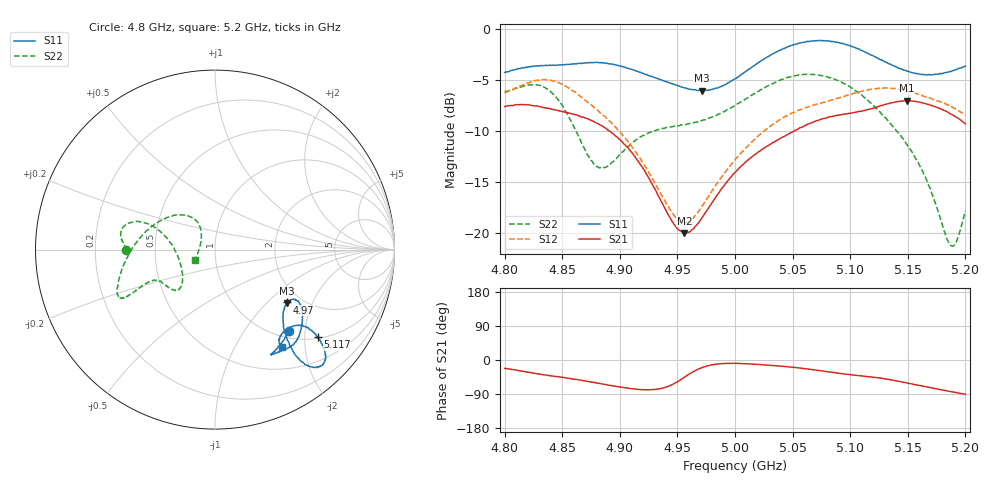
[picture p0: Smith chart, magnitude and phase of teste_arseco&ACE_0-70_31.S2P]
! Network Analyzer HP8722D
! Hewlett-Packard
! Data name: Linha & Wilkinson
! Saver's name: Rodrigo Anjos
! Comments: Teste da utilização de aquisição
! continua pelo VNA HP8722D
! Time and date: 8/5/2025 13:01
!  Frequency  S11  S21  S12  S22
# HZ  S  MA R 50
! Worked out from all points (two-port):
!   401 points, 4.8 GHz to 5.2 GHz, reference 50 ohm
!   highest |S21| = -7.03 dB at 5.149 GHz (marker M1); lowest = -20.0 dB at 4.956 GHz (marker M2)
!   |S21| within 3 dB of the highest: start of sweep to 4.891 GHz; 5.051 GHz to end of sweep
!   lowest |S11| = -6.1 dB at 4.971 GHz (marker M3), VSWR 2.99, Z = 83.8 - j66.3 ohm
!   |S11| at or under -10 dB: nowhere
!   |S22| runs from -21.3 to -4.4 dB; largest |S21 - S12| = 0.95
!   S11 on the Smith chart (normalised r, x): 4.8 GHz: 1.14, -1.65; 4.97 GHz: 1.70, -1.33; 5.117 GHz: 1.04, -2.32; 5.2 GHz: 0.82, -1.57
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4.8e9  0.6122 -47.6  0.4162 -22.0  0.4869 -175.7  0.4936 -179.9
4.821e9  0.6524 -58.4  0.4243 -32.5  0.5435 176.7  0.532 171.4
4.837e9  0.6612 -61.5  0.4083 -40.4  0.5622 167.5  0.5083 163.2
4.851e9  0.6676 -59.8  0.3933 -46.2  0.5302 158.6  0.4146 159.2
4.867e9  0.6778 -55.0  0.3699 -53.9  0.4607 150.7  0.274 166.7
4.886e9  0.683 -48.5  0.3303 -63.8  0.3763 144.0  0.209 -158.2
4.909e9  0.6369 -40.4  0.2526 -75.3  0.2714 137.8  0.2711 -133.6
4.934e9  0.5691 -32.9  0.1499 -76.3  0.1617 141.1  0.3218 -135.3
4.956e9  0.5146 -32.6  0.09967 -45.6  0.1122 172.6  0.3396 -144.5
4.97e9  0.4995 -36.1  0.1154 -21.6  0.1313 -163.6  0.3524 -150.1
4.971e9  0.4982 -36.6  0.1175 -20.8  0.1339 -162.3  0.3555 -150.4
5e9  0.5702 -47.8  0.1977 -8.9  0.2283 -146.8  0.4216 -154.0
5.038e9  0.7833 -52.4  0.2874 -16.0  0.3569 -147.9  0.5578 -151.8
5.067e9  0.8737 -48.4  0.3478 -25.2  0.4217 -154.4  0.5982 -154.9
5.094e9  0.848 -43.4  0.382 -36.5  0.4652 -162.0  0.5424 -165.8
5.117e9  0.751 -40.4  0.4041 -44.2  0.5044 -172.5  0.4374 174.4
5.134e9  0.6759 -40.2  0.4321 -51.5  0.5124 177.2  0.3488 153.3
5.149e9  0.6227 -42.6  0.445 -60.4  0.4971 168.8  0.2721 134.5
5.165e9  0.5969 -48.0  0.4309 -70.4  0.4651 161.4  0.1891 122.9
5.187e9  0.6189 -54.9  0.3836 -83.3  0.4179 153.8  0.08669 158.8
5.192e9  0.6333 -55.5  0.3694 -85.9  0.4025 151.9  0.08998 -178.1
5.2e9  0.6578 -55.7  0.3422 -90.5  0.3788 149.4  0.1283 -152.2
